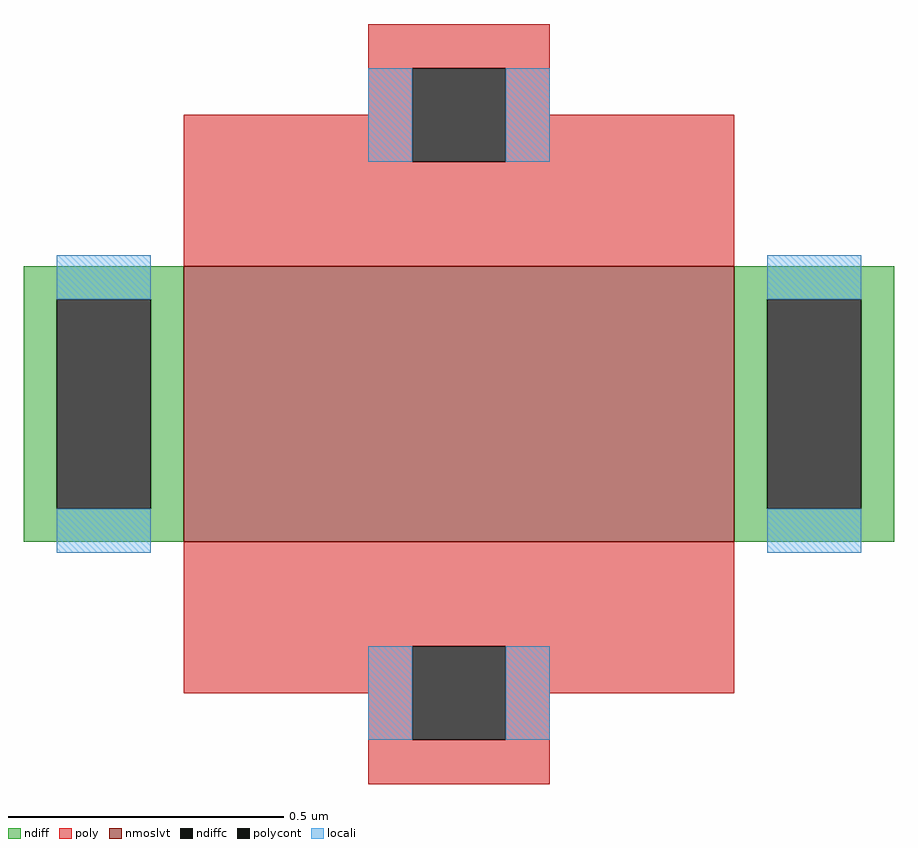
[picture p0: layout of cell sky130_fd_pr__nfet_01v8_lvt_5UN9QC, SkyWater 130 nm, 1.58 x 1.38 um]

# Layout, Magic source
magic
tech sky130A
magscale 1 2
<< nmoslvt >>
rect -100 -50 100 50
<< ndiff >>
rect -158 38 -100 50
rect -158 -38 -146 38
rect -112 -38 -100 38
rect -158 -50 -100 -38
rect 100 38 158 50
rect 100 -38 112 38
rect 146 -38 158 38
rect 100 -50 158 -38
<< ndiffc >>
rect -146 -38 -112 38
rect 112 -38 146 38
<< poly >>
rect -33 122 33 138
rect -33 105 -17 122
rect -100 88 -17 105
rect 17 105 33 122
rect 17 88 100 105
rect -100 50 100 88
rect -100 -88 100 -50
rect -100 -105 -17 -88
rect -33 -122 -17 -105
rect 17 -105 100 -88
rect 17 -122 33 -105
rect -33 -138 33 -122
<< polycont >>
rect -17 88 17 122
rect -17 -122 17 -88
<< locali >>
rect -33 88 -17 122
rect 17 88 33 122
rect -146 38 -112 54
rect -146 -54 -112 -38
rect 112 38 146 54
rect 112 -54 146 -38
rect -33 -122 -17 -88
rect 17 -122 33 -88
<< properties >>
string gencell sky130_fd_pr__nfet_01v8_lvt
string library sky130
string parameters w 0.5 l 1.0 m 1 nf 1 diffcov 100 polycov 20 guard 0 glc 1 grc 1 gtc 1 gbc 1 tbcov 100 rlcov 100 topc 1 botc 1 poverlap 0 doverlap 1 lmin 0.15 wmin 0.42 class mosfet compatible {sky130_fd_pr__nfet_01v8 sky130_fd_pr__nfet_01v8_lvt  sky130_fd_bs_flash__special_sonosfet_star  sky130_fd_pr__nfet_g5v0d10v5 sky130_fd_pr__nfet_05v0_nvt  sky130_fd_pr__nfet_03v3_nvt} full_metal 1 viasrc 0 viadrn 0 viagate 0 viagb 0 viagr 0 viagl 0 viagt 0
<< end >>
